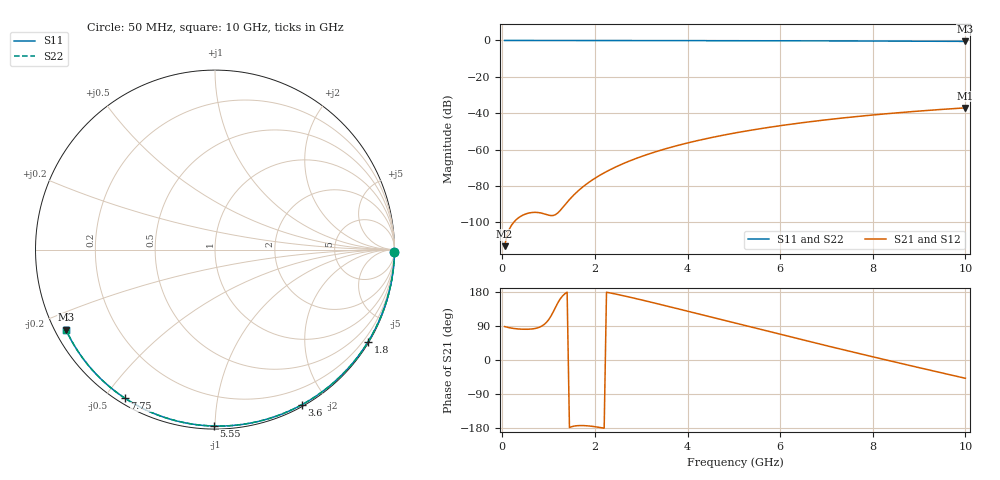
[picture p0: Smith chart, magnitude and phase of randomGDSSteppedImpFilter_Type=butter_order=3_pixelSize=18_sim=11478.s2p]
! freq	dB(S11)	phase(S11)	dB(S12)	phase(S12)
!  dB(S21)	phase(S21)	dB(S22)	phase(S22)
!S-par simulation data
#  GHz  S  DB  R 50
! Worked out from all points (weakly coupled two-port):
!   200 points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, 50 MHz to 10 GHz, reference 50 ohm
!   highest |S21| = -37.06 dB at 10 GHz (marker M1); lowest = -113.1 dB at 50 MHz (marker M2)
!   lowest |S11| = -0.5 dB at 10 GHz (marker M3), VSWR 34.02, Z = 1.56 - j12.6 ohm
!   |S11| at or under -10 dB: nowhere
!   |S22| runs from -0.5 to 0.0 dB; largest |S21 - S12| = 0
!   S11 on the Smith chart (normalised r, x): 50 MHz: open; 1.8 GHz: 0.03, -3.58; 3.6 GHz: 0.02, -1.70; 5.55 GHz: 0.02, -0.99; 7.75 GHz: 0.02, -0.56; 10 GHz: 0.03, -0.25
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0.05  -0.00 -0.9  -113.11 88.2  -113.11 88.2  -0.00 -0.9
0.45  -0.01 -7.9  -95.98 81.2  -95.98 81.2  -0.01 -7.9
0.9  -0.02 -15.8  -95.29 93.4  -95.29 93.4  -0.02 -15.8
1.3  -0.03 -22.7  -92.00 168.9  -92.00 168.9  -0.03 -22.7
1.75  -0.04 -30.4  -80.29 -173.1  -80.29 -173.1  -0.04 -30.4
1.8  -0.04 -31.2  -79.31 -173.4  -79.31 -173.4  -0.04 -31.2
1.95  -0.04 -33.7  -76.60 -175.2  -76.60 -175.2  -0.04 -33.7
2.1  -0.05 -36.3  -74.22 -177.9  -74.22 -177.9  -0.05 -36.3
2.3  -0.05 -39.6  -71.42 177.7  -71.42 177.7  -0.05 -39.6
2.5  -0.06 -43.0  -68.96 172.7  -68.96 172.7  -0.06 -43.0
2.9  -0.06 -49.5  -64.77 161.7  -64.77 161.7  -0.06 -49.5
3.4  -0.08 -57.6  -60.50 147.0  -60.50 147.0  -0.08 -57.6
3.6  -0.08 -60.8  -59.02 141.0  -59.02 141.0  -0.08 -60.8
4.3  -0.10 -71.7  -54.57 119.6  -54.57 119.6  -0.10 -71.7
5.05  -0.13 -83.1  -50.75 96.6  -50.75 96.6  -0.13 -83.1
5.55  -0.15 -90.4  -48.60 81.4  -48.60 81.4  -0.15 -90.4
6.1  -0.17 -98.4  -46.51 64.7  -46.51 64.7  -0.17 -98.4
6.7  -0.21 -106.8  -44.52 46.7  -44.52 46.7  -0.21 -106.8
7.75  -0.28 -121.3  -41.59 15.7  -41.59 15.7  -0.28 -121.3
8.35  -0.33 -129.4  -40.18 -1.7  -40.18 -1.7  -0.33 -129.4
9.2  -0.42 -140.9  -38.44 -25.9  -38.44 -25.9  -0.42 -140.9
10  -0.51 -151.7  -37.06 -48.3  -37.06 -48.3  -0.51 -151.7
